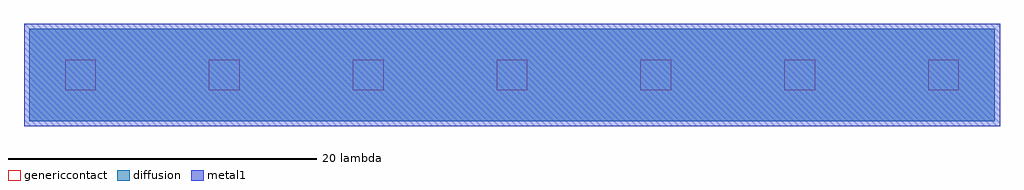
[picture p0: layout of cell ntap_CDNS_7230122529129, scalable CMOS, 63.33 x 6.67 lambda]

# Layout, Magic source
magic
tech scmos
magscale 1 3
<< diffusion >>
rect 5 5 193 23
<< genericcontact >>
rect 12 11 18 17
rect 40 11 46 17
rect 68 11 74 17
rect 96 11 102 17
rect 124 11 130 17
rect 152 11 158 17
rect 180 11 186 17
<< metal1 >>
rect 4 4 194 24
<< end >>
